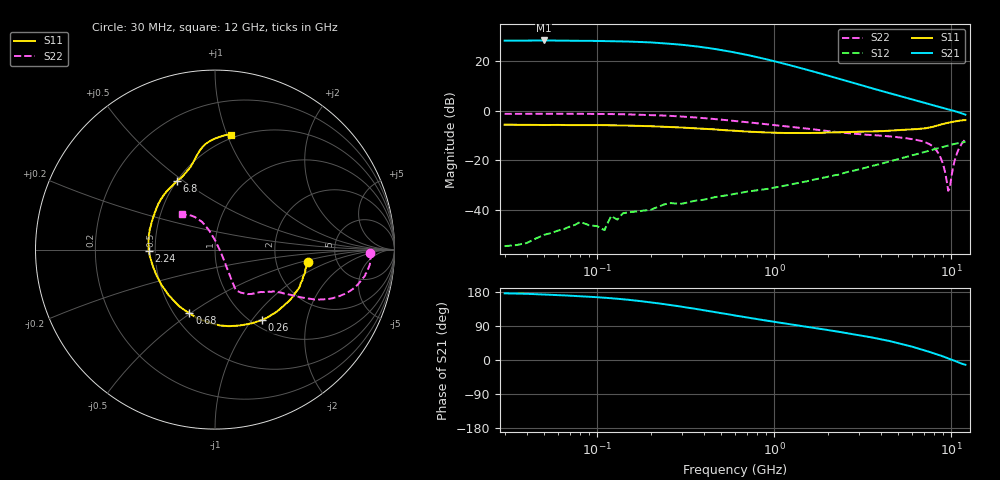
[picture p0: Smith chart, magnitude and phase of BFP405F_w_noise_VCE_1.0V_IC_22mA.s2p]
! Infineon Technologies  Discrete & RF Semiconductors
! BFP405F
! VCE =  1.0 V,  IC =  22 mA
! Common Emitter S-Parameters:  Nov 2015
# GHz  S  MA  R  50
!  f  S11  S21  S12  S22
! GHz  MAG  ANG  MAG  ANG  MAG  ANG  MAG  ANG
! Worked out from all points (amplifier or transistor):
!   239 points, 30 MHz to 12 GHz, reference 50 ohm
!   highest |S21| = 28.2 dB at 50 MHz (marker M1)
!   |S21| within 3 dB of that: start of sweep to 422 MHz
!   unconditionally stable (mu >= 1): start of sweep to 60.33 MHz; 824 MHz to end of sweep
!   at 300 MHz: K = 0.57, MSG = 31.9 dB, |S12| = -37.4 dB
!   at 1.88 GHz: K = 1.49, MAG = 16.7 dB, |S12| = -27.0 dB
!   at 12 GHz: K = 1.62, MAG = 0.9 dB, |S12| = -12.5 dB
!   lowest NFmin = 2.34 dB at 450 MHz
!   S11 on the Smith chart (normalised r, x): 30 MHz: 3.09, -0.57; 260 MHz: 1.11, -1.12; 680 MHz: 0.60, -0.50; 2.24 GHz: 0.46, -0.01; 6.8 GHz: 0.50, +0.47; 12 GHz: 0.47, +1.03
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0.03  0.524 -7.3  25.56 175.9  0.0019 86.2  0.8634 -1.2
0.04  0.5209 -9.5  25.63 174.7  0.0022 96.0  0.8673 -2.1
0.05  0.5154 -12.3  25.77 172.7  0.0032 85.5  0.8697 -3.0
0.085  0.5141 -20.2  25.34 167.6  0.0054 72.0  0.8653 -5.8
0.15  0.5024 -34.7  24.49 158.9  0.0091 70.7  0.8427 -10.6
0.2  0.4885 -44.9  23.56 151.9  0.0102 69.9  0.8188 -13.8
0.24  0.4774 -52.5  22.51 147.3  0.0132 70.1  0.7982 -16.0
0.26  0.4718 -56.2  22.02 145.0  0.0139 70.6  0.7872 -17.0
0.3  0.4593 -63.4  21.12 140.5  0.0135 72.9  0.7634 -18.9
0.4  0.4336 -79.7  18.74 131.2  0.0163 67.4  0.71 -22.4
0.5  0.4113 -92.9  16.58 123.6  0.0192 64.6  0.6596 -24.9
0.6  0.3958 -104.4  14.74 117.4  0.0214 58.7  0.6209 -26.6
0.68  0.3829 -111.9  13.52 113.3  0.0232 60.3  0.5947 -27.4
1  0.362 -135.8  9.853 100.6  0.0287 59.5  0.5141 -30.2
1.3  0.3551 -151.4  7.753 92.3  0.0341 60.7  0.4658 -31.8
1.64  0.3576 -163.6  6.203 85.4  0.0406 61.0  0.4251 -33.9
2.24  0.3685 -178.8  4.536 75.5  0.0511 61.4  0.3732 -39.0
4.5  0.3969 146.1  2.232 49.8  0.0957 56.0  0.3056 -54.0
6.8  0.4359 119.0  1.489 27.6  0.1425 45.5  0.2454 -62.6
8.6  0.5198 102.2  1.18 12.4  0.1797 35.9  0.1243 -57.2
9.6  0.573 97.2  1.062 4.6  0.1997 30.3  0.0246 3.4
12  0.6469 82.0  0.833 -12.5  0.2371 17.1  0.2672 132.7
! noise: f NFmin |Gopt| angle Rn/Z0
0.45  2.34  0.01  -136  0.48
0.9  2.36  0.03  -135  0.34
1.5  2.42  0.05  -131  0.37
1.9  2.49  0.07  -128  0.44
2.4  2.64  0.08  -126  0.18
3  2.75  0.1  -123  0.2
3.5  2.84  0.11  -120  0.29
4.5  3.11  0.16  -106  0.54
5.5  3.47  0.29  -88  0.55
